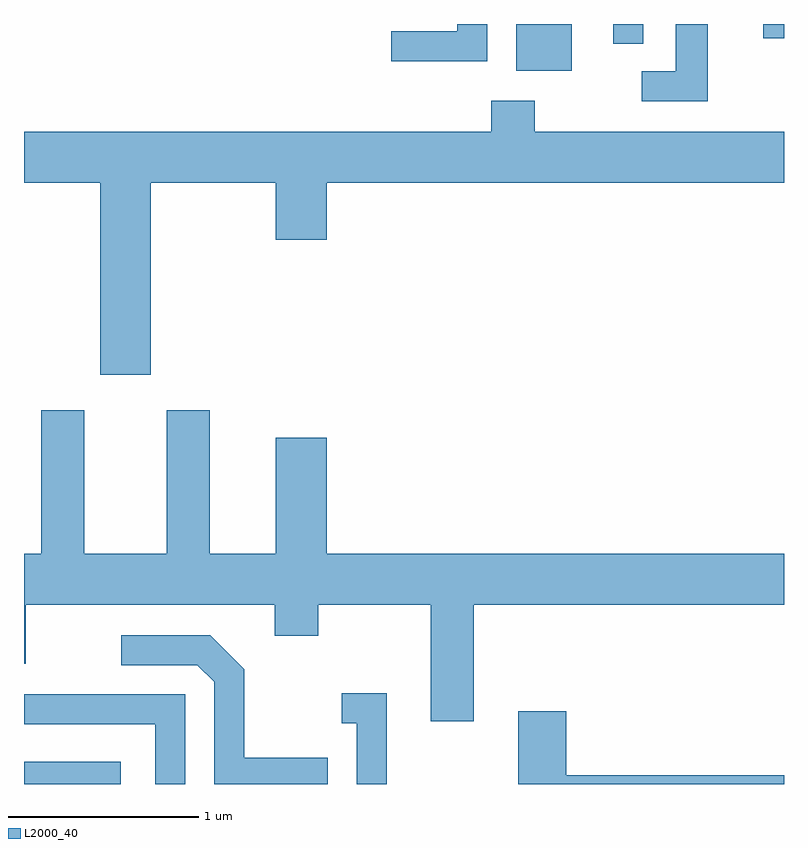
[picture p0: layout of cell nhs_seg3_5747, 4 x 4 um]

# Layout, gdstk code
import gdstk
lib = gdstk.Library(unit=1e-6, precision=1e-09)
def R(c, l, rs):  # rectangles x0, y0, x1, y1
    for r in rs: c.add(gdstk.rectangle(r[:2], r[2:], *l))
def P(c, l, *ps):  # polygons
    for p in ps: c.add(gdstk.Polygon(p, *l))
L2000_40 = (2000, 40)

nhs_seg3_5747 = lib.new_cell('nhs_seg3_5747')
R(nhs_seg3_5747, L2000_40, [(353.611,1193.892,354.119,1194.009), (356.201,1197.646,356.494,1197.892), (356.711,1197.788,356.869,1197.892), (357.501,1197.816,357.611,1197.892)])
P(nhs_seg3_5747, L2000_40, [(357.209,1197.892),(357.041,1197.892),(357.041,1197.644),(356.863,1197.644),(356.863,1197.486),(357.209,1197.486)],
  [(356.049,1197.892),(355.891,1197.892),(355.891,1197.854),(355.543,1197.854),(355.543,1197.696),(356.049,1197.696)],
  [(354.279,1197.056),(354.936,1197.056),(354.936,1196.756),(355.204,1196.756),(355.204,1197.056),(357.611,1197.056),(357.611,1197.324),(356.299,1197.324),(356.299,1197.489),(356.071,1197.489),(356.071,1197.324),(353.611,1197.324),(353.611,1197.056),(354.011,1197.056),(354.011,1196.046),(354.279,1196.046)],
  [(353.611,1194.526),(353.619,1194.526),(353.619,1194.836),(354.931,1194.836),(354.931,1194.671),(355.159,1194.671),(355.159,1194.836),(355.751,1194.836),(355.751,1194.221),(355.979,1194.221),(355.979,1194.836),(357.611,1194.836),(357.611,1195.104),(355.204,1195.104),(355.204,1195.714),(354.936,1195.714),(354.936,1195.104),(354.589,1195.104),(354.589,1195.859),(354.361,1195.859),(354.361,1195.104),(353.929,1195.104),(353.929,1195.859),(353.701,1195.859),(353.701,1195.104),(353.611,1195.104)],
  [(355.209,1194.029),(354.769,1194.029),(354.769,1194.497),(354.592,1194.674),(354.123,1194.674),(354.123,1194.516),(354.524,1194.516),(354.611,1194.429),(354.611,1193.892),(355.209,1193.892)],
  [(355.519,1194.369),(355.283,1194.369),(355.283,1194.211),(355.361,1194.211),(355.361,1193.892),(355.519,1193.892)],
  [(354.459,1194.364),(353.611,1194.364),(353.611,1194.206),(354.301,1194.206),(354.301,1193.892),(354.459,1193.892)],
  [(357.611,1193.939),(356.464,1193.939),(356.464,1194.274),(356.211,1194.274),(356.211,1193.892),(357.611,1193.892)])

lib.write_gds('nhs_seg3_5747.gds')
